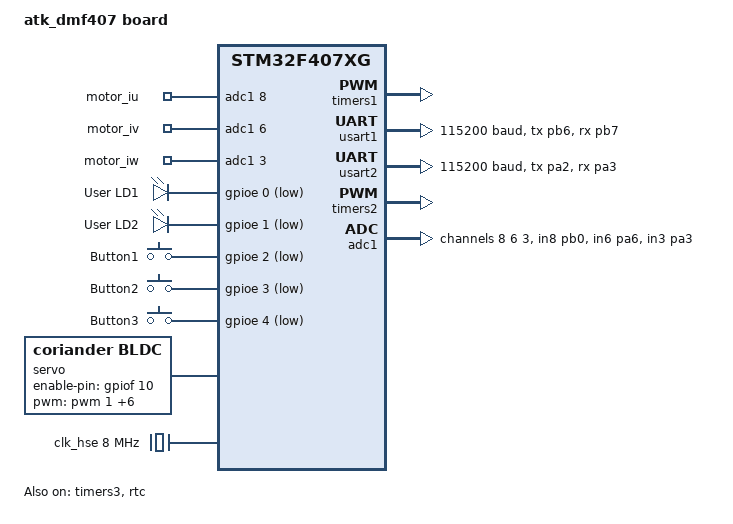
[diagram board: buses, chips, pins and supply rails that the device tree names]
/dts-v1/;
#include <st/f4/stm32f407Xg.dtsi>
#include <st/f4/stm32f407i(e-g)tx-pinctrl.dtsi>
#include <zephyr/dt-bindings/timer/stm32-timer.h>

/ {
	model = "atk_dmf407 board";
	compatible = "st,stm32f4discovery";

	zephyr,user {
		io-channels = <&adc1 8>, <&adc1 6>, <&adc1 3>;
		io-channel-names = "motor_iu", "motor_iv", "motor_iw";
	};

	chosen {
		zephyr,console = &usart1;
		zephyr,shell-uart = &usart1;
		zephyr,sram = &sram0;
		zephyr,flash = &flash0;
		zephyr,ccm = &ccm0;
		zephyr,canbus = &can2;
		zephyr,uart_mcumgr = &usart1;

		// mcuboot
		zephyr,code-partition = &slot0_partition;

		usr,led = &leds;
		usr,encoder = &qdec;
	};

	leds: leds {
		compatible = "gpio-leds";
        red_led_0: led0 {
            gpios = <&gpioe 0 GPIO_ACTIVE_LOW>;
            label = "User LD1";
        };
        green_led_1: led1 {
            gpios = <&gpioe 1 GPIO_ACTIVE_LOW>;
            label = "User LD2";
        };
	};

	gpio_keys {
		compatible = "gpio-keys";
		user_button1: button1 {
			label = "Button1";
			gpios = <&gpioe 2 GPIO_ACTIVE_LOW>;
		};
        user_button2: button2 {
            label = "Button2";
            gpios = <&gpioe 3 GPIO_ACTIVE_LOW>;
        };
        user_button3: button3 {
            label = "Button3";
            gpios = <&gpioe 4 GPIO_ACTIVE_LOW>;
        };
	};

	servo: servo {
		compatible = "coriander,bldc";
		status = "okay";
		pwms =
			<&pwm 1 PWM_USEC(50) PWM_POLARITY_NORMAL>,								// ch1
			<&pwm 2 PWM_USEC(50) PWM_POLARITY_NORMAL>,								// ch2
			<&pwm 3 PWM_USEC(50) PWM_POLARITY_NORMAL>,								// ch3
			<&pwm 4 PWM_USEC(50) PWM_POLARITY_NORMAL>,								// ch4
			<&pwm 1 PWM_USEC(50) (PWM_POLARITY_NORMAL | STM32_PWM_COMPLEMENTARY)>,	// ch1n
			<&pwm 2 PWM_USEC(50) (PWM_POLARITY_NORMAL | STM32_PWM_COMPLEMENTARY)>,  // ch2n
			<&pwm 3 PWM_USEC(50) (PWM_POLARITY_NORMAL | STM32_PWM_COMPLEMENTARY)>;	// ch3n
		pwm-names = "motor-u", "motor-v", "motor-w", "adc-trigger", "motor-un", "motor-vn", "motor-wn";
		enable-pin = <&gpiof 10 GPIO_ACTIVE_HIGH>;
		max_pulse = <PWM_USEC(49)>;
		min_pulse = <PWM_USEC(1)>;
	};

	phase_current: phase_current {
		compatible = "coriander,phase_current";
		status = "okay";
		voltage-offset = <1250>;
		voltage-scale = <120>;
	};

	mc-parameters {
		compatible = "param,mc";
		status = "okay";
		velocity-pid = <100 10 0>;
		position-pid = <1000 0 0>;
	};

	aliases {
        led0 = &red_led_0;
        led1 = &green_led_1;
        sw0 = &user_button1;
        sw1 = &user_button2;
        sw2 = &user_button3;
	};
};

&timers1 {
	status = "okay";
	st,countermode = <STM32_TIM_COUNTERMODE_CENTER_UP>; // center_up, see dt-bindings/timer/stm32-timer.h
	pwm: pwm {
		status = "okay";

		// enable ch1/ch1n ch2/ch2n ch3/ch3n AF GPIO
		pinctrl-0 = <&tim1_ch1_pa8 &tim1_ch1n_pb13
				&tim1_ch2_pa9 &tim1_ch2n_pb14
				&tim1_ch3_pa10 &tim1_ch3n_pb15>;

		pinctrl-names = "default";
	};
};

&usart1 {
	pinctrl-0 = <&usart1_tx_pb6 &usart1_rx_pb7>;
	pinctrl-names = "default";
	current-speed = <115200>;
	status = "okay";
};

&flash0 {
	partitions {
		compatible = "fixed-partitions";
		#address-cells = <1>;
		#size-cells = <1>;

		boot_partition: partition@0 {
			label = "mcuboot";
			reg = <0x00000000 0x00040000>;
		};

		slot0_partition: partition@40000 {
			label = "image-0";
			reg = <0x00040000 0x00040000>;
		};

		slot1_partition: partition@80000 {
			label = "image-1";
			reg = <0x00080000 0x00040000>;
		};

		scratch_partition: partition@C0000 {
			label = "scratch";
			reg = <0x000C0000 0x00040000>;
		};
	};
};

&clk_lsi {
	status = "okay";
};

&clk_hse {
	clock-frequency = <DT_FREQ_M(8)>;
	status = "okay";
};

&pll {
	div-m = <8>;
	mul-n = <336>;
	div-p = <2>;
	div-q = <7>;
	clocks = <&clk_hse>;
	status = "okay";
};

&rcc {
	clocks = <&pll>;
	clock-frequency = <DT_FREQ_M(168)>;
	ahb-prescaler = <1>;
	apb1-prescaler = <4>;
	apb2-prescaler = <2>;
};

&usart2 {
	pinctrl-0 = <&usart2_tx_pa2 &usart2_rx_pa3>;
	pinctrl-names = "default";
	current-speed = <115200>;
	status = "okay";
};

&timers2 {
	status = "okay";

	pwm2: pwm {
		status = "okay";
		pinctrl-0 = <&tim2_ch1_pa0>;
		pinctrl-names = "default";
	};
};

&timers3 {
	status = "okay";

	qdec: qdec {
		status = "okay";
		pinctrl-0 = <&tim3_ch1_pc6 &tim3_ch2_pc7>;
		pinctrl-names = "default";
  		// st,input-polarity-inverted;
		st,input-filter-level= <3>;
		st,counts-per-revolution = <2000>;
	};
};

&rtc {
	clocks = <&rcc STM32_CLOCK_BUS_APB1 0x10000000>,
		 <&rcc STM32_SRC_LSI RTC_SEL(2)>;
	status = "okay";

	backup_regs {
		status = "okay";
	};
};

&adc1 {
	status = "okay";
	#address-cells = <1>;
	#size-cells = <0>;

	st,adc-prescaler = <8>;

	pinctrl-0 = <&adc1_in8_pb0 &adc1_in6_pa6 &adc1_in3_pa3>;
	pinctrl-names = "default";
	channel@8 {
		reg = <8>;
		zephyr,gain = "ADC_GAIN_1";
		zephyr,reference = "ADC_REF_INTERNAL";
		zephyr,acquisition-time = <ADC_ACQ_TIME(ADC_ACQ_TIME_TICKS, 56)>;
		zephyr,resolution = <8>;
	};
	channel@6 {
		reg = <6>;
		zephyr,gain = "ADC_GAIN_1";
		zephyr,reference = "ADC_REF_INTERNAL";
		zephyr,acquisition-time = <ADC_ACQ_TIME(ADC_ACQ_TIME_TICKS, 56)>;
		zephyr,resolution = <8>;
	};
	channel@3 {
		reg = <3>;
		zephyr,gain = "ADC_GAIN_1";
		zephyr,reference = "ADC_REF_INTERNAL";
		zephyr,acquisition-time = <ADC_ACQ_TIME(ADC_ACQ_TIME_TICKS, 56)>;
		zephyr,resolution = <8>;
	};
};
